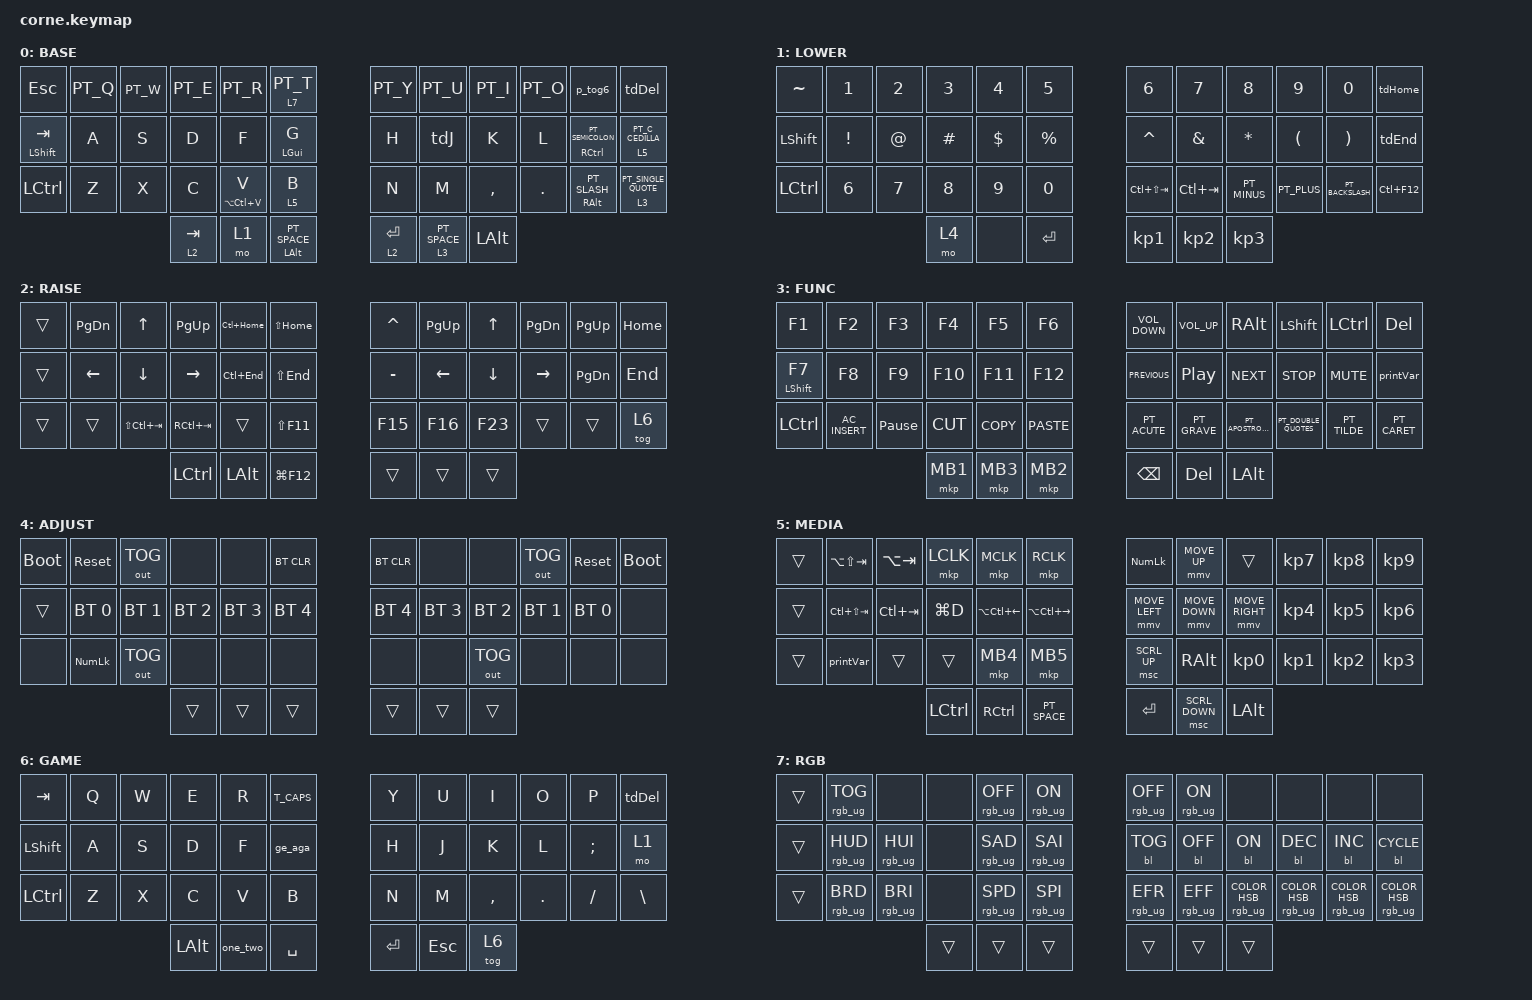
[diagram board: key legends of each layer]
/*
 * Copyright (c) 2020 The ZMK Contributors
 *
 * SPDX-License-Identifier: MIT
 */

#include <behaviors.dtsi>
#include <dt-bindings/zmk/backlight.h>
#include <dt-bindings/zmk/bt.h>
#include <dt-bindings/zmk/keys.h>
#include <dt-bindings/zmk/outputs.h>
#include <dt-bindings/zmk/pointing.h>
#include <dt-bindings/zmk/rgb.h>
#include "keys_pt_abnt2.h"

#define DEF 0
#define LWR 1
#define RSE 2
#define FLR 3
#define ADJ 4

&lt {
    quick_tap_ms = <130>;
    quick-tap-ms = <130>;
};

&mt {
    quick_tap_ms = <130>;
    flavor = "tap-preferred";
    quick-tap-ms = <130>;
};

&sl { release-after-ms = <5000>; };

/ {
    macros {
        macro_n1: macro_n1 {
            compatible = "zmk,behavior-macro";
            #binding-cells = <0>;
            wait-ms = <40>;
            tap-ms = <40>;
            bindings = <&kp N1>;
        };

        macro_n2: macro_n2 {
            compatible = "zmk,behavior-macro";
            #binding-cells = <0>;
            wait-ms = <40>;
            tap-ms = <40>;
            bindings = <&kp N2>;
        };

        macro_n3: macro_n3 {
            compatible = "zmk,behavior-macro";
            #binding-cells = <0>;
            wait-ms = <40>;
            tap-ms = <40>;
            bindings = <&kp N3>;
        };
    };

    behaviors {
        tdF: tap_dance_lang1 {
            compatible = "zmk,behavior-tap-dance";
            #binding-cells = <0>;
            tapping-term-ms = <100>;
            bindings = <&kp F>, <&kp LG(F11)>;
        };

        tdJ: tap_dance_lang2 {
            compatible = "zmk,behavior-tap-dance";
            #binding-cells = <0>;
            tapping-term-ms = <200>;
            bindings = <&kp J>, <&kp LC(F12)>;
        };

        lh_pht: left_positional_hold_tap {
            compatible = "zmk,behavior-hold-tap";
            #binding-cells = <2>;
            flavor = "tap-unless-interrupted";
            tapping-term-ms = <100>;
            quick-tap-ms = <200>;
            bindings = <&kp>, <&kp>;

            hold-trigger-key-positions = <0 1 2 3 4 5 22>;
        };

        alt_space: alt_space {
            compatible = "zmk,behavior-hold-tap";
            #binding-cells = <2>;
            flavor = "tap-preferred";
            tapping-term-ms = <180>;
            quick-tap-ms = <180>;
            bindings = <&kp>, <&kp>;

            retro-tap;
        };

        tdDel: tdDel {
            compatible = "zmk,behavior-tap-dance";
            #binding-cells = <0>;
            tapping-term-ms = <200>;
            bindings = <&kp BACKSPACE>, <&kp DEL>;

            label = "TDDEL";
        };

        tdHome: tdHome {
            compatible = "zmk,behavior-tap-dance";
            #binding-cells = <0>;
            tapping-term-ms = <300>;
            bindings = <&kp HOME>, <&kp LS(HOME)>, <&kp LC(HOME)>;

            label = "TDHOME";
        };

        tdEnd: tdEnd {
            compatible = "zmk,behavior-tap-dance";
            #binding-cells = <0>;
            tapping-term-ms = <300>;
            bindings = <&kp END>, <&kp LS(END)>, <&kp LC(END)>;

            label = "TDEND";
        };

        stickAllt: stickAllt {
            compatible = "zmk,behavior-tap-dance";
            #binding-cells = <0>;
            tapping-term-ms = <300>;
            bindings = <&sk LEFT_SHIFT>, <&sk LEFT_ALT>, <&kp CAPSLOCK>;

            label = "STICKALLT";
        };

        q1F1: q1F1 {
            compatible = "zmk,behavior-tap-dance";
            #binding-cells = <0>;
            tapping-term-ms = <270>;
            bindings = <&kp PT_Q>, <&kp PT_N1>, <&kp F1>;

            label = "Q1F1";
        };

        w2F2: w2F2 {
            compatible = "zmk,behavior-tap-dance";
            #binding-cells = <0>;
            tapping-term-ms = <270>;
            bindings = <&kp PT_W>, <&kp PT_N2>, <&kp F2>;

            label = "W2F2";
        };

        e3F3: e3F3 {
            compatible = "zmk,behavior-tap-dance";
            #binding-cells = <0>;
            tapping-term-ms = <270>;
            bindings = <&kp PT_E>, <&kp PT_N3>, <&kp F3>;

            label = "E3F3";
        };

        r4F4: r4F4 {
            compatible = "zmk,behavior-tap-dance";
            #binding-cells = <0>;
            tapping-term-ms = <270>;
            bindings = <&kp PT_R>, <&kp PT_N4>, <&kp F4>;

            label = "R4F4";
        };

        t5F5: t5F5 {
            compatible = "zmk,behavior-tap-dance";
            #binding-cells = <0>;
            tapping-term-ms = <270>;
            bindings = <&kp PT_T>, <&kp PT_N5>, <&kp F5>;

            label = "T5F5";
        };

        y6F6: y6F6 {
            compatible = "zmk,behavior-tap-dance";
            #binding-cells = <0>;
            tapping-term-ms = <270>;
            bindings = <&kp PT_Y>, <&kp PT_N6>, <&kp F6>;

            label = "Y6F6";
        };

        u7F7: u7F7 {
            compatible = "zmk,behavior-tap-dance";
            #binding-cells = <0>;
            tapping-term-ms = <270>;
            bindings = <&kp PT_U>, <&kp PT_N7>, <&kp F7>;

            label = "U7F7";
        };

        i8F8: i8F8 {
            compatible = "zmk,behavior-tap-dance";
            #binding-cells = <0>;
            tapping-term-ms = <270>;
            bindings = <&kp PT_I>, <&kp PT_N8>, <&kp F8>;

            label = "I8F8";
        };

        o9F9: o9F9 {
            compatible = "zmk,behavior-tap-dance";
            #binding-cells = <0>;
            tapping-term-ms = <270>;
            bindings = <&kp PT_O>, <&kp PT_N9>, <&kp F9>;

            label = "O9F9";
        };

        p0F10: p0F10 {
            compatible = "zmk,behavior-tap-dance";
            #binding-cells = <0>;
            tapping-term-ms = <270>;
            bindings = <&kp PT_P>, <&kp PT_N0>, <&kp F10>;

            label = "P0F10";
        };

        semicolonF11cedil: semicolonF11cedil {
            compatible = "zmk,behavior-tap-dance";
            #binding-cells = <0>;
            tapping-term-ms = <270>;
            bindings = <&kp PT_SEMICOLON>, <&kp PT_C_CEDILLA>, <&kp F11>;

            label = "SEMICOLONF11CEDIL";
        };

        slashbslahF12: slashbslahF12 {
            compatible = "zmk,behavior-tap-dance";
            #binding-cells = <0>;
            tapping-term-ms = <270>;
            bindings = <&kp PT_SLASH>, <&kp PT_BACKSLASH>, <&kp F12>;

            label = "SLASHBSLAHF12";
        };

        printVar: printVar {
            compatible = "zmk,behavior-tap-dance";
            #binding-cells = <0>;
            tapping-term-ms = <270>;
            bindings =
                <&kp C_AC_PRINT>,
                <&kp LS(PRINTSCREEN)>,
                <&kp LS(LC(PRINTSCREEN))>;

            label = "PRINTVAR";
        };

        p_tog6: p_tog6 {
            compatible = "zmk,behavior-tap-dance";
            #binding-cells = <0>;
            tapping-term-ms = <200>;
            bindings = <&kp PT_P>, <&tog 6>;

            label = "P_TOG6";
        };

        one_two: one_two {
            compatible = "zmk,behavior-tap-dance";
            #binding-cells = <0>;
            tapping-term-ms = <230>;
            bindings = <&macro_n1>, <&macro_n2>, <&macro_n3>;

            label = "ONE_TWO";
        };

        ge_aga: ge_aga {
            compatible = "zmk,behavior-tap-dance";
            #binding-cells = <0>;
            tapping-term-ms = <200>;
            bindings = <&kp PT_G>, <&kp PT_H>;

            label = "GE_AGA";
        };

        T_CAPS: T_CAPS {
            compatible = "zmk,behavior-tap-dance";
            #binding-cells = <0>;
            tapping-term-ms = <200>;
            bindings = <&kp PT_T>, <&kp CAPSLOCK>;

            label = "T_CAPS";
        };
    };

    combos {
        compatible = "zmk,combos";

        ParaLeft {
            bindings = <&kp LEFT_PARENTHESIS>;
            key-positions = <4 5>;
            timeout-ms = <20>;
        };

        ParaRight {
            bindings = <&kp RIGHT_PARENTHESIS>;
            key-positions = <6 7>;
            timeout-ms = <20>;
        };

        BrakLeft {
            bindings = <&kp PT_LEFT_BRACKET>;
            key-positions = <16 17>;
            timeout-ms = <20>;
        };

        BrakRight {
            bindings = <&kp PT_RIGHT_BRACKET>;
            key-positions = <18 19>;
            timeout-ms = <20>;
        };

        BraceLeft {
            bindings = <&kp PT_LEFT_BRACE>;
            key-positions = <28 29>;
            timeout-ms = <20>;
        };

        BraceRight {
            bindings = <&kp PT_RIGHT_BRACE>;
            key-positions = <30 31>;
            timeout-ms = <20>;
        };

        DoubleQuote {
            bindings = <&kp PT_DOUBLE_QUOTES>;
            key-positions = <15 16>;
            timeout-ms = <20>;
        };

        SingleQuote {
            bindings = <&kp PT_SINGLE_QUOTE>;
            key-positions = <19 20>;
            timeout-ms = <20>;
        };

        //LangRu {
        //    bindings = <&kp LG(F11)>;
        //    key-positions = <0 1>;
        //    timeout-ms = <20>;
        //};
        //LangUs {
        //   bindings = <&kp LG(F12)>;
        //    key-positions = <10 11>;
        //    timeout-ms = <20>;
        //};
        //LangRuL {
        //    bindings = <&kp LG(F11)>;
        //    key-positions = <36 38>;
        //    timeout-ms = <20>;
        //};
        //LangUsL {
        //    bindings = <&kp LG(F12)>;
        //    key-positions = <39 41>;
        //    timeout-ms = <20>;
        //};

        TildaSign {
            bindings = <&kp PT_TILDE>;
            key-positions = <27 28>;
            timeout-ms = <20>;
        };

        GraveSign {
            bindings = <&kp PT_GRAVE>;
            key-positions = <24 25>;
            timeout-ms = <20>;
        };

        MinusSign {
            bindings = <&kp MINUS>;
            key-positions = <3 4>;
            timeout-ms = <20>;
        };

        PlusSign {
            bindings = <&kp PLUS>;
            key-positions = <2 3>;
            timeout-ms = <20>;
        };

        UnderscoreSign {
            bindings = <&kp PT_UNDERSCORE>;
            key-positions = <7 8>;
            timeout-ms = <20>;
        };

        PipeSign {
            bindings = <&kp PT_PIPE>;
            key-positions = <8 9>;
            timeout-ms = <20>;
        };

        accent {
            bindings = <&sl 3>;
            key-positions = <25 13>;
        };

        stickLayer3 {
            bindings = <&kp PT_EQUAL>;
            key-positions = <1 2>;
        };

        enter {
            bindings = <&kp ENTER>;
            key-positions = <17 29>;
        };

        ctrlF12 {
            bindings = <&kp LC(F12)>;
            key-positions = <35 23>;
        };

        home {
            bindings = <&kp C_AC_HOME>;
            key-positions = <10 11>;
        };

        end {
            bindings = <&kp END>;
            key-positions = <22 23>;
        };

        pgup {
            bindings = <&kp PAGE_UP>;
            key-positions = <32 33>;
        };

        pgdown {
            bindings = <&kp PAGE_DOWN>;
            key-positions = <34 35>;
        };

        alt {
            bindings = <&kp PT_ACUTE>;
            key-positions = <26 27>;
        };

        copy {
            bindings = <&kp LC(C)>;
            key-positions = <0 2>;
        };

        cut {
            bindings = <&kp LC(PT_X)>;
            key-positions = <12 14>;
        };

        paste {
            bindings = <&kp LC(PT_V)>;
            key-positions = <24 26>;
        };

        caps {
            bindings = <&kp CAPSLOCK>;
            key-positions = <0 1>;
        };

        delete {
            bindings = <&kp DELETE>;
            key-positions = <17 4>;
            timeout-ms = <20>;
        };

        backspace {
            bindings = <&kp BACKSPACE>;
            key-positions = <3 16>;
            timeout-ms = <20>;
        };
    };
};

/ {
    keymap {
        compatible = "zmk,keymap";

        default_layer {
            label = "BASE";
            bindings = <
&kp ESC           &kp PT_Q  &kp PT_W  &kp PT_E   &kp PT_R         &lt 7 PT_T                      &kp PT_Y   &kp PT_U        &kp PT_I      &kp PT_O  &p_tog6                         &tdDel
&mt LSHIFT TAB    &kp A     &kp S     &kp D      &kp F            &mt LEFT_GUI G                  &kp H      &tdJ            &kp K         &kp L     &mt RIGHT_CONTROL PT_SEMICOLON  &lt 5 PT_C_CEDILLA
&kp LEFT_CONTROL  &kp Z     &kp X     &kp C      &mt LA(LC(V)) V  &lt 5 B                         &kp N      &kp M           &kp COMMA     &kp DOT   &mt RIGHT_ALT PT_SLASH          &lt 3 PT_SINGLE_QUOTE
                                      &lt 2 TAB  &mo 1            &alt_space LEFT_ALT PT_SPACE    &lt 2 RET  &lt 3 PT_SPACE  &kp LEFT_ALT
            >;
        };

        lower_layer {
            label = "LOWER";
            bindings = <
&kp TILDE         &kp N1    &kp N2  &kp N3    &kp N4    &kp N5       &kp N6           &kp N7       &kp N8        &kp N9       &kp N0            &tdHome
&kp LEFT_SHIFT    &kp EXCL  &kp AT  &kp HASH  &kp DLLR  &kp PRCNT    &kp CARET        &kp AMPS     &kp ASTRK     &kp LPAR     &kp RPAR          &tdEnd
&kp LEFT_CONTROL  &kp N6    &kp N7  &kp N8    &kp N9    &kp N0       &kp LC(LS(TAB))  &kp LC(TAB)  &kp PT_MINUS  &kp PT_PLUS  &kp PT_BACKSLASH  &kp LC(F12)
                                    &mo 4     &none     &kp ENTER    &kp KP_N1        &kp KP_N2    &kp KP_N3
            >;
        };

        raise_layer {
            label = "RAISE";
            bindings = <
&trans  &kp PAGE_DOWN  &kp UP_ARROW     &kp PG_UP         &kp LC(HOME)  &kp LS(HOME)    &kp CARET  &kp PG_UP  &kp UP    &kp PG_DN  &kp PAGE_UP    &kp HOME
&trans  &kp LEFT       &kp DOWN_ARROW   &kp RIGHT_ARROW   &kp LC(END)   &kp LS(END)     &kp MINUS  &kp LEFT   &kp DOWN  &kp RIGHT  &kp PAGE_DOWN  &kp END
&trans  &trans         &kp LS(LC(TAB))  &kp RC(TAB)       &trans        &kp LS(F11)     &kp F15    &kp F16    &kp F23   &trans     &trans         &tog 6
                                        &kp LEFT_CONTROL  &kp LALT      &kp LG(F12)     &trans     &trans     &trans
            >;
        };

        fbuttons_layer {
            label = "FUNC";
            bindings = <
&kp F1             &kp F2           &kp F3           &kp F4     &kp F5      &kp F6         &kp C_VOLUME_DOWN  &kp C_VOLUME_UP   &kp RALT           &kp LSHFT             &kp LCTRL     &kp DELETE
&mt LEFT_SHIFT F7  &kp F8           &kp F9           &kp F10    &kp F11     &kp F12        &kp C_PREVIOUS     &kp C_PLAY_PAUSE  &kp C_NEXT         &kp C_STOP            &kp K_MUTE    &printVar
&kp LEFT_CONTROL   &kp C_AC_INSERT  &kp PAUSE_BREAK  &kp K_CUT  &kp K_COPY  &kp K_PASTE    &kp PT_ACUTE       &kp PT_GRAVE      &kp PT_APOSTROPHE  &kp PT_DOUBLE_QUOTES  &kp PT_TILDE  &kp PT_CARET
                                                     &mkp MB1   &mkp MB3    &mkp MB2       &kp BACKSPACE      &kp DELETE        &kp LEFT_ALT
            >;
        };

        adjust_layer {
            label = "ADJUST";
            bindings = <
&bootloader  &sys_reset    &out OUT_TOG  &none         &none         &bt BT_CLR      &bt BT_CLR    &none         &none         &out OUT_TOG  &sys_reset    &bootloader
&trans       &bt BT_SEL 0  &bt BT_SEL 1  &bt BT_SEL 2  &bt BT_SEL 3  &bt BT_SEL 4    &bt BT_SEL 4  &bt BT_SEL 3  &bt BT_SEL 2  &bt BT_SEL 1  &bt BT_SEL 0  &none
&none        &kp KP_NUM    &out OUT_TOG  &none         &none         &none           &none         &none         &out OUT_TOG  &none         &none         &none
                                         &trans        &trans        &trans          &trans        &trans        &trans
            >;
        };

        extrasMedia {
            label = "MEDIA";
            bindings = <
&trans  &kp LA(LS(TAB))  &kp LA(TAB)  &mkp LCLK         &mkp MCLK               &mkp RCLK                  &kp KP_NUM      &mmv MOVE_UP    &trans           &kp KP_NUMBER_7  &kp KP_NUMBER_8  &kp KP_NUMBER_9
&trans  &kp LC(LS(TAB))  &kp LC(TAB)  &kp LG(D)         &kp LA(LC(LEFT_ARROW))  &kp LA(LC(RIGHT_ARROW))    &mmv MOVE_LEFT  &mmv MOVE_DOWN  &mmv MOVE_RIGHT  &kp KP_NUMBER_4  &kp KP_NUMBER_5  &kp KP_NUMBER_6
&trans  &printVar        &trans       &trans            &mkp MB4                &mkp MB5                   &msc SCRL_UP    &kp RIGHT_ALT   &kp KP_NUMBER_0  &kp KP_NUMBER_1  &kp KP_NUMBER_2  &kp KP_NUMBER_3
                                      &kp LEFT_CONTROL  &kp RIGHT_CONTROL       &kp PT_SPACE               &kp ENTER       &msc SCRL_DOWN  &kp LEFT_ALT
            >;
        };

        GAME_LAYER {
            label = "GAME";
            bindings = <
&kp TAB    &kp Q  &kp W  &kp E         &kp R     &T_CAPS      &kp Y    &kp U       &kp I      &kp O    &kp P     &tdDel
&kp LSHFT  &kp A  &kp S  &kp D         &kp F     &ge_aga      &kp H    &kp J       &kp K      &kp L    &kp SEMI  &mo 1
&kp LCTRL  &kp Z  &kp X  &kp C         &kp V     &kp B        &kp N    &kp M       &kp COMMA  &kp DOT  &kp FSLH  &kp BSLH
                         &kp LEFT_ALT  &one_two  &kp SPACE    &kp RET  &kp ESCAPE  &tog 6
            >;
        };

        RGB_LAYER {
            label = "RGB";
            bindings = <
&trans  &rgb_ug RGB_TOG  &none            &none   &rgb_ug RGB_OFF  &rgb_ug RGB_ON     &rgb_ug RGB_OFF  &rgb_ug RGB_ON   &none                             &none                            &none                             &none
&trans  &rgb_ug RGB_HUD  &rgb_ug RGB_HUI  &none   &rgb_ug RGB_SAD  &rgb_ug RGB_SAI    &bl BL_TOG       &bl BL_OFF       &bl BL_ON                         &bl BL_DEC                       &bl BL_INC                        &bl BL_CYCLE
&trans  &rgb_ug RGB_BRD  &rgb_ug RGB_BRI  &none   &rgb_ug RGB_SPD  &rgb_ug RGB_SPI    &rgb_ug RGB_EFR  &rgb_ug RGB_EFF  &rgb_ug RGB_COLOR_HSB(180,0,100)  &rgb_ug RGB_COLOR_HSB(54,89,49)  &rgb_ug RGB_COLOR_HSB(128,61,49)  &rgb_ug RGB_COLOR_HSB(245,65,50)
                                          &trans  &trans           &trans             &trans           &trans           &trans
            >;
        };
    };
};
